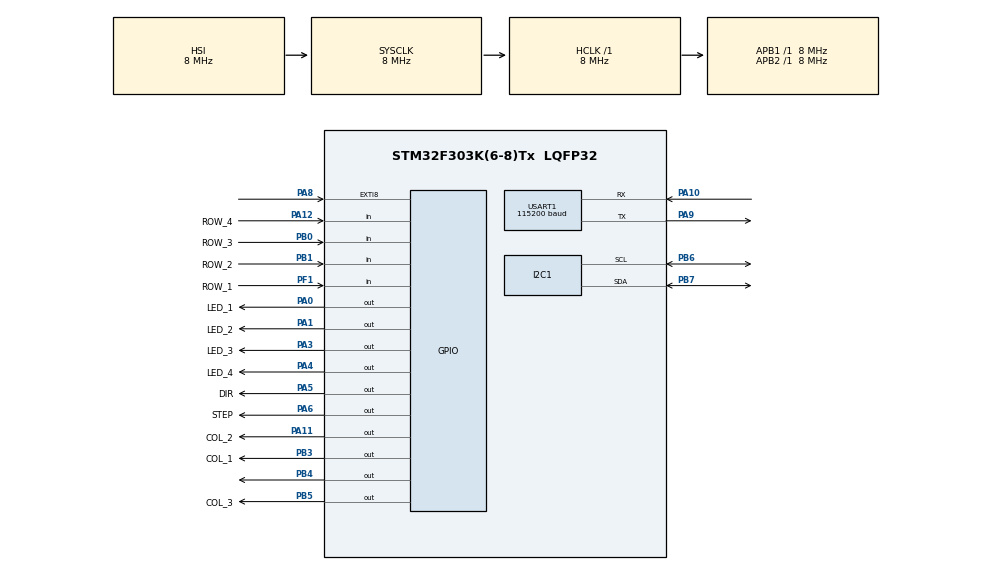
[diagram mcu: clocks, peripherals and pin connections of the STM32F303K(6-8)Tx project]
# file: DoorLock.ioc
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I2C1.Timing=0x00201D2B
Mcu.Family=STM32F3
Mcu.Name=STM32F303K(6-8)Tx
Mcu.Package=LQFP32
NVIC.PriorityGroup=NVIC_PRIORITYGROUP_4
PA0.GPIO_Label=LED_1
PA0.Signal=GPIO_Output
PA1.GPIO_Label=LED_2
PA1.Signal=GPIO_Output
PA10.Mode=Asynchronous
PA10.Signal=USART1_RX
PA11.GPIO_Label=COL_2
PA11.Signal=GPIO_Output
PA12.GPIO_Label=ROW_4
PA12.Signal=GPIO_Input
PA13.GPIO_Label=SWDIO
PA13.Mode=Serial_Wire
PA13.Signal=SYS_JTMS-SWDIO
PA14.GPIO_Label=SWCLK
PA14.Mode=Serial_Wire
PA14.Signal=SYS_JTCK-SWCLK
PA15.Signal=USART2_RX
PA2.Signal=USART2_TX
PA3.GPIO_Label=LED_3
PA3.Signal=GPIO_Output
PA4.GPIO_Label=LED_4
PA4.Signal=GPIO_Output
PA5.GPIO_Label=DIR
PA5.Signal=GPIO_Output
PA6.GPIO_Label=STEP
PA6.Signal=GPIO_Output
PA8.Signal=GPXTI8
PA9.Mode=Asynchronous
PA9.Signal=USART1_TX
PB0.GPIO_Label=ROW_3
PB0.Signal=GPIO_Input
PB1.GPIO_Label=ROW_2
PB1.Signal=GPIO_Input
PB3.GPIO_Label=COL_1
PB3.Signal=GPIO_Output
PB4.Signal=GPIO_Output
PB5.GPIO_Label=COL_3
PB5.Signal=GPIO_Output
PB6.Mode=I2C
PB6.Signal=I2C1_SCL
PB7.Mode=I2C
PB7.Signal=I2C1_SDA
PF0\ /\ OSC_IN.GPIO_Label=MCO
PF0\ /\ OSC_IN.Mode=HSE-External-Clock-Source
PF0\ /\ OSC_IN.Signal=RCC_OSC_IN
PF1\ /\ OSC_OUT.GPIO_Label=ROW_1
PF1\ /\ OSC_OUT.Signal=GPIO_Input
ProjectManager.HeapSize=0x200
ProjectManager.StackSize=0x400
ProjectManager.TargetToolchain=STM32CubeIDE
RCC.AHBFreq_Value=8000000
RCC.APB1Freq_Value=8000000
RCC.APB2Freq_Value=8000000
RCC.CortexFreq_Value=8000000
RCC.HSE_VALUE=8000000
RCC.HSI_VALUE=8000000
RCC.SYSCLKFreq_VALUE=8000000
TIM1.Prescaler=8000
TIM3.AutoReloadPreload=TIM_AUTORELOAD_PRELOAD_DISABLE
TIM3.Prescaler=8000
USART1.BaudRate=115200
USART1.VirtualMode-Asynchronous=VM_ASYNC
VP_TIM1_VS_ClockSourceINT.Mode=Internal
VP_TIM3_VS_ClockSourceINT.Mode=Internal
board=NUCLEO-F303K8

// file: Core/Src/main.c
/* USER CODE BEGIN Header */
/**
  ******************************************************************************
  * @file           : main.c
  * @brief          : Main program body
  ******************************************************************************
  * @attention
  *
  * Copyright (c) 2024 STMicroelectronics.
  * All rights reserved.
  *
  * This software is licensed under terms that can be found in the LICENSE file
  * in the root directory of this software component.
  * If no LICENSE file comes with this software, it is provided AS-IS.
  *
  ******************************************************************************
  */
/* USER CODE END Header */
#include "main.h"

/* USER CODE BEGIN Includes */
#include "button_control.h"
#include "led_control.h"
#include "motor_control.h"
#include "eeprom_control.h"
/* USER CODE END Includes */

I2C_HandleTypeDef hi2c1;

TIM_HandleTypeDef htim1;
TIM_HandleTypeDef htim3;

UART_HandleTypeDef huart1;

void SystemClock_Config(void);
static void MX_GPIO_Init(void);
static void MX_I2C1_Init(void);
static void MX_USART1_UART_Init(void);
static void MX_TIM1_Init(void);
static void MX_TIM3_Init(void);
/* USER CODE BEGIN PFP */
void print(const char *str, uint16_t size)
{
	HAL_UART_Transmit(&huart1, (uint8_t *)str, size, HAL_MAX_DELAY);
}
/* USER CODE END PFP */

int main(void)
{

  /* USER CODE BEGIN 1 */
  uint8_t state = ePASSIVE;
  uint8_t rtv;

  // Read EEPROM for lock state;
  uint8_t passcode[PASSCODE_SIZE];
  readPasscodeEEPROM(passcode);
  setPasscode(passcode);

  bool lockStatus = eLOCKED;
  readLockStateEEPROM(&lockStatus);

  /* USER CODE END 1 */

  /* MCU Configuration--------------------------------------------------------*/

  /* Reset of all peripherals, Initializes the Flash interface and the Systick. */
  HAL_Init();

  /* USER CODE BEGIN Init */

  //readEEPROM();

  /* USER CODE END Init */

  /* Configure the system clock */
  SystemClock_Config();

  /* Initialize all configured peripherals */
  MX_GPIO_Init();
  MX_I2C1_Init();
  MX_USART1_UART_Init();
  MX_TIM1_Init();
  MX_TIM3_Init();
  /* USER CODE BEGIN 2 */
  //pendingLED();
  /* USER CODE END 2 */

  /* Infinite loop */
  /* USER CODE BEGIN WHILE */
  while (1)
  {
    // Enter sleep if inactivity is detected
    if(__HAL_TIM_GET_COUNTER(&htim1) > SLEEP_TIMEOUT)
    {
        __HAL_TIM_SET_COUNTER(&htim1, 0);
        HAL_TIM_Base_Stop(&htim1);
        HAL_TIM_Base_Stop(&htim3);

        __HAL_RCC_GPIOF_CLK_DISABLE();
        __HAL_RCC_GPIOA_CLK_DISABLE();
        __HAL_RCC_GPIOB_CLK_DISABLE();

        __enable_irq();
        HAL_PWR_EnterSLEEPMode(PWR_MAINREGULATOR_ON, PWR_SLEEPENTRY_WFI);
    }

	switch(state)
	{
	case ePASSIVE:
		rtv = actionEnterPasscode();

		if(rtv == RETURN_SUCCESS){
			if(lockStatus == eLOCKED)
			{
				char msg[] = "\nCorrect Passcode Entered";
				print(msg, sizeof(msg));
				successLED();
				state = eLOCKING;
			}
			else
			{
				char msg[] = "\nAlready Unlocked";
				print(msg, sizeof(msg));
				disableLED();
			}
		}
		else if(rtv == RETURN_FAILURE){
			char msg[] = "\nIncorrect Passcode Entered";
			print(msg, sizeof(msg));
			errorLED();
		}
		else if(rtv == BUTTON_LOCK){
			if(lockStatus == eUNLOCKED)
			{
				char msg[] = "\nUnlocking/Locking Door";
				print(msg, sizeof(msg));
				successLED();
				state = eLOCKING;
			}
			else
			{
				char msg[] = "\nAlready Locked";
				print(msg, sizeof(msg));
				disableLED();
			}
		}
		else if(rtv == BUTTON_EDIT){
			char msg[] = "\nEditing Passcode";
			print(msg, sizeof(msg));
			disableLED();
			state = eSETTING_PASSCODE;
		}
		else if(rtv == RETURN_PENDING) 	{ pendingLED(); }

		break;

	case eLOCKING:
		lockStatus = !lockStatus;
		writeLockStateEEPROM(&lockStatus);

		powerMotor(lockStatus, 1000U);
		state = ePASSIVE;

	    break;

	case eSETTING_PASSCODE:
		rtv = actionSetPasscode();

		if(rtv == RETURN_SUCCESS){
		    getPasscode(passcode);
		    writePasscodeEEPROM(passcode);

			char msg[] = "\nPasscode Successfully Set";
			print(msg, sizeof(msg));
			successLED();
			state = ePASSIVE;
		}
		else if(rtv == RETURN_FAILURE){
			char msg[] = "\nPasscode Unsuccessfully Set";
			print(msg, sizeof(msg));
			errorLED();
			state = ePASSIVE;
		}
		else if(rtv == BUTTON_LOCK){
			char msg[] = "\nAborting Passcode Change";
			print(msg, sizeof(msg));
			disableLED();
			state = ePASSIVE;
		}
		else if(rtv == RETURN_PENDING) 	{ pendingLED(); }

		break;

	default:
		break;
	}

	HAL_Delay(50);
    /* USER CODE END WHILE */

  }
}

void SystemClock_Config(void)
{
  RCC_OscInitTypeDef RCC_OscInitStruct = {0};
  RCC_ClkInitTypeDef RCC_ClkInitStruct = {0};
  RCC_PeriphCLKInitTypeDef PeriphClkInit = {0};

  /** Initializes the RCC Oscillators according to the specified parameters
  * in the RCC_OscInitTypeDef structure.
  */
  RCC_OscInitStruct.OscillatorType = RCC_OSCILLATORTYPE_HSI;
  RCC_OscInitStruct.HSIState = RCC_HSI_ON;
  RCC_OscInitStruct.HSICalibrationValue = RCC_HSICALIBRATION_DEFAULT;
  RCC_OscInitStruct.PLL.PLLState = RCC_PLL_NONE;
  if (HAL_RCC_OscConfig(&RCC_OscInitStruct) != HAL_OK)
  {
    Error_Handler();
  }

  /** Initializes the CPU, AHB and APB buses clocks
  */
  RCC_ClkInitStruct.ClockType = RCC_CLOCKTYPE_HCLK|RCC_CLOCKTYPE_SYSCLK
                              |RCC_CLOCKTYPE_PCLK1|RCC_CLOCKTYPE_PCLK2;
  RCC_ClkInitStruct.SYSCLKSource = RCC_SYSCLKSOURCE_HSI;
  RCC_ClkInitStruct.AHBCLKDivider = RCC_SYSCLK_DIV1;
  RCC_ClkInitStruct.APB1CLKDivider = RCC_HCLK_DIV1;
  RCC_ClkInitStruct.APB2CLKDivider = RCC_HCLK_DIV1;

  if (HAL_RCC_ClockConfig(&RCC_ClkInitStruct, FLASH_LATENCY_0) != HAL_OK)
  {
    Error_Handler();
  }
  PeriphClkInit.PeriphClockSelection = RCC_PERIPHCLK_USART1|RCC_PERIPHCLK_I2C1
                              |RCC_PERIPHCLK_TIM1;
  PeriphClkInit.Usart1ClockSelection = RCC_USART1CLKSOURCE_PCLK1;
  PeriphClkInit.I2c1ClockSelection = RCC_I2C1CLKSOURCE_HSI;
  PeriphClkInit.Tim1ClockSelection = RCC_TIM1CLK_HCLK;
  if (HAL_RCCEx_PeriphCLKConfig(&PeriphClkInit) != HAL_OK)
  {
    Error_Handler();
  }
}

static void MX_I2C1_Init(void)
{

  hi2c1.Instance = I2C1;
  hi2c1.Init.Timing = 0x00201D2B;
  hi2c1.Init.OwnAddress1 = 0;
  hi2c1.Init.AddressingMode = I2C_ADDRESSINGMODE_7BIT;
  hi2c1.Init.DualAddressMode = I2C_DUALADDRESS_DISABLE;
  hi2c1.Init.OwnAddress2 = 0;
  hi2c1.Init.OwnAddress2Masks = I2C_OA2_NOMASK;
  hi2c1.Init.GeneralCallMode = I2C_GENERALCALL_DISABLE;
  hi2c1.Init.NoStretchMode = I2C_NOSTRETCH_DISABLE;
  if (HAL_I2C_Init(&hi2c1) != HAL_OK)
  {
    Error_Handler();
  }

  /** Configure Analogue filter
  */
  if (HAL_I2CEx_ConfigAnalogFilter(&hi2c1, I2C_ANALOGFILTER_ENABLE) != HAL_OK)
  {
    Error_Handler();
  }

  /** Configure Digital filter
  */
  if (HAL_I2CEx_ConfigDigitalFilter(&hi2c1, 0) != HAL_OK)
  {
    Error_Handler();
  }

}

static void MX_TIM1_Init(void)
{

  TIM_ClockConfigTypeDef sClockSourceConfig = {0};
  TIM_MasterConfigTypeDef sMasterConfig = {0};

  htim1.Instance = TIM1;
  htim1.Init.Prescaler = 8000;
  htim1.Init.CounterMode = TIM_COUNTERMODE_UP;
  htim1.Init.Period = 65535;
  htim1.Init.ClockDivision = TIM_CLOCKDIVISION_DIV1;
  htim1.Init.RepetitionCounter = 0;
  htim1.Init.AutoReloadPreload = TIM_AUTORELOAD_PRELOAD_DISABLE;
  if (HAL_TIM_Base_Init(&htim1) != HAL_OK)
  {
    Error_Handler();
  }
  sClockSourceConfig.ClockSource = TIM_CLOCKSOURCE_INTERNAL;
  if (HAL_TIM_ConfigClockSource(&htim1, &sClockSourceConfig) != HAL_OK)
  {
    Error_Handler();
  }
  sMasterConfig.MasterOutputTrigger = TIM_TRGO_RESET;
  sMasterConfig.MasterOutputTrigger2 = TIM_TRGO2_RESET;
  sMasterConfig.MasterSlaveMode = TIM_MASTERSLAVEMODE_DISABLE;
  if (HAL_TIMEx_MasterConfigSynchronization(&htim1, &sMasterConfig) != HAL_OK)
  {
    Error_Handler();
  }

}

static void MX_TIM3_Init(void)
{

  TIM_ClockConfigTypeDef sClockSourceConfig = {0};
  TIM_MasterConfigTypeDef sMasterConfig = {0};

  htim3.Instance = TIM3;
  htim3.Init.Prescaler = 8000;
  htim3.Init.CounterMode = TIM_COUNTERMODE_UP;
  htim3.Init.Period = 65535;
  htim3.Init.ClockDivision = TIM_CLOCKDIVISION_DIV1;
  htim3.Init.AutoReloadPreload = TIM_AUTORELOAD_PRELOAD_DISABLE;
  if (HAL_TIM_Base_Init(&htim3) != HAL_OK)
  {
    Error_Handler();
  }
  sClockSourceConfig.ClockSource = TIM_CLOCKSOURCE_INTERNAL;
  if (HAL_TIM_ConfigClockSource(&htim3, &sClockSourceConfig) != HAL_OK)
  {
    Error_Handler();
  }
  sMasterConfig.MasterOutputTrigger = TIM_TRGO_RESET;
  sMasterConfig.MasterSlaveMode = TIM_MASTERSLAVEMODE_DISABLE;
  if (HAL_TIMEx_MasterConfigSynchronization(&htim3, &sMasterConfig) != HAL_OK)
  {
    Error_Handler();
  }
  /* USER CODE BEGIN TIM3_Init 2 */
  HAL_TIM_Base_Start(&htim3);
  /* USER CODE END TIM3_Init 2 */

}

static void MX_USART1_UART_Init(void)
{

  huart1.Instance = USART1;
  huart1.Init.BaudRate = 115200;
  huart1.Init.WordLength = UART_WORDLENGTH_8B;
  huart1.Init.StopBits = UART_STOPBITS_1;
  huart1.Init.Parity = UART_PARITY_NONE;
  huart1.Init.Mode = UART_MODE_TX_RX;
  huart1.Init.HwFlowCtl = UART_HWCONTROL_NONE;
  huart1.Init.OverSampling = UART_OVERSAMPLING_16;
  huart1.Init.OneBitSampling = UART_ONE_BIT_SAMPLE_DISABLE;
  huart1.AdvancedInit.AdvFeatureInit = UART_ADVFEATURE_NO_INIT;
  if (HAL_UART_Init(&huart1) != HAL_OK)
  {
    Error_Handler();
  }

}

static void MX_GPIO_Init(void)
{
  GPIO_InitTypeDef GPIO_InitStruct = {0};

  /* GPIO Ports Clock Enable */
  __HAL_RCC_GPIOF_CLK_ENABLE();
  __HAL_RCC_GPIOA_CLK_ENABLE();
  __HAL_RCC_GPIOB_CLK_ENABLE();

  /*Configure GPIO pin Output Level */
  HAL_GPIO_WritePin(GPIOA, LED_1_Pin|LED_2_Pin|LED_3_Pin|LED_4_Pin
                          |DIR_Pin|STEP_Pin|COL_2_Pin, GPIO_PIN_RESET);

  /*Configure GPIO pin Output Level */
  HAL_GPIO_WritePin(GPIOB, COL_1_Pin|GPIO_PIN_4|COL_3_Pin, GPIO_PIN_RESET);

  /*Configure GPIO pin : ROW_1_Pin */
  GPIO_InitStruct.Pin = ROW_1_Pin;
  GPIO_InitStruct.Mode = GPIO_MODE_INPUT;
  GPIO_InitStruct.Pull = GPIO_NOPULL;
  HAL_GPIO_Init(ROW_1_GPIO_Port, &GPIO_InitStruct);

  /*Configure GPIO pins : LED_1_Pin LED_2_Pin LED_3_Pin LED_4_Pin
                           DIR_Pin STEP_Pin COL_2_Pin */
  GPIO_InitStruct.Pin = LED_1_Pin|LED_2_Pin|LED_3_Pin|LED_4_Pin
                          |DIR_Pin|STEP_Pin|COL_2_Pin;
  GPIO_InitStruct.Mode = GPIO_MODE_OUTPUT_PP;
  GPIO_InitStruct.Pull = GPIO_NOPULL;
  GPIO_InitStruct.Speed = GPIO_SPEED_FREQ_LOW;
  HAL_GPIO_Init(GPIOA, &GPIO_InitStruct);

  /*Configure GPIO pins : PA2 PA15 */
  GPIO_InitStruct.Pin = GPIO_PIN_2|GPIO_PIN_15;
  GPIO_InitStruct.Mode = GPIO_MODE_AF_PP;
  GPIO_InitStruct.Pull = GPIO_NOPULL;
  GPIO_InitStruct.Speed = GPIO_SPEED_FREQ_HIGH;
  GPIO_InitStruct.Alternate = GPIO_AF7_USART2;
  HAL_GPIO_Init(GPIOA, &GPIO_InitStruct);

  /*Configure GPIO pins : ROW_3_Pin ROW_2_Pin */
  GPIO_InitStruct.Pin = ROW_3_Pin|ROW_2_Pin;
  GPIO_InitStruct.Mode = GPIO_MODE_INPUT;
  GPIO_InitStruct.Pull = GPIO_NOPULL;
  HAL_GPIO_Init(GPIOB, &GPIO_InitStruct);

  /*Configure GPIO pin : PA8 */
  GPIO_InitStruct.Pin = GPIO_PIN_8;
  GPIO_InitStruct.Mode = GPIO_MODE_IT_RISING;
  GPIO_InitStruct.Pull = GPIO_NOPULL;
  HAL_GPIO_Init(GPIOA, &GPIO_InitStruct);

  HAL_NVIC_EnableIRQ(EXTI9_5_IRQn);

  /*Configure GPIO pin : ROW_4_Pin */
  GPIO_InitStruct.Pin = ROW_4_Pin;
  GPIO_InitStruct.Mode = GPIO_MODE_INPUT;
  GPIO_InitStruct.Pull = GPIO_NOPULL;
  HAL_GPIO_Init(ROW_4_GPIO_Port, &GPIO_InitStruct);

  /*Configure GPIO pins : COL_1_Pin PB4 COL_3_Pin */
  GPIO_InitStruct.Pin = COL_1_Pin|GPIO_PIN_4|COL_3_Pin;
  GPIO_InitStruct.Mode = GPIO_MODE_OUTPUT_PP;
  GPIO_InitStruct.Pull = GPIO_NOPULL;
  GPIO_InitStruct.Speed = GPIO_SPEED_FREQ_LOW;
  HAL_GPIO_Init(GPIOB, &GPIO_InitStruct);

/* USER CODE BEGIN MX_GPIO_Init_2 */
  HAL_GPIO_WritePin(GPIOA, GPIO_PIN_11, GPIO_PIN_SET);
  HAL_GPIO_WritePin(GPIOB, GPIO_PIN_3|GPIO_PIN_5, GPIO_PIN_SET);
/* USER CODE END MX_GPIO_Init_2 */
}

void Error_Handler(void)
{
  __disable_irq();
  while (1)
  {
  }
}
